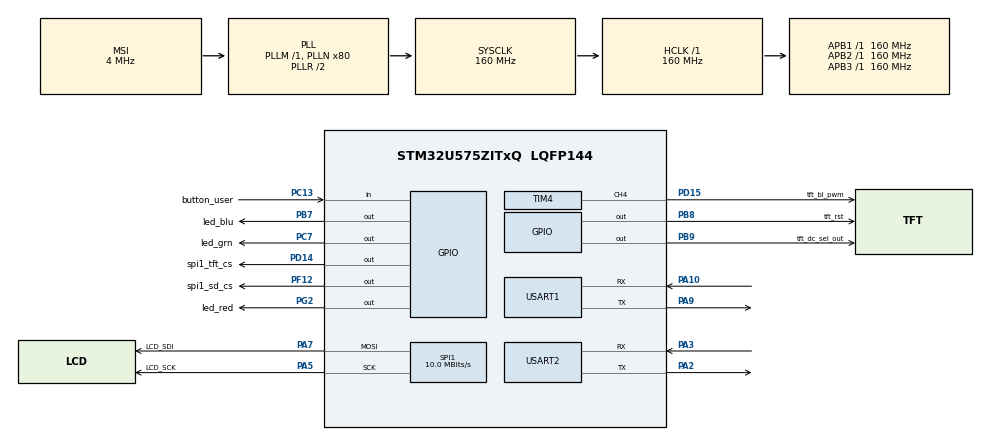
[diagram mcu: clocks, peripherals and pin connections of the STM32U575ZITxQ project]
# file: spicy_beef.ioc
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CORTEX_M33_NS.userName=CORTEX_M33
GPDMA1.CIRCULARMODE_GPDMACH0=ENABLE
GPDMA1.DIRECTION_GPDMACH0=DMA_MEMORY_TO_PERIPH
GPDMA1.IPHANDLE_GPDMACH0-SIMPLEREQUEST_GPDMACH0=__NULL
GPDMA1.PRIORITY_LL_CIRCULAR_GPDMACH0=DMA_LOW_PRIORITY_MID_WEIGHT
GPDMA1.REQUEST_GPDMACH0=GPDMA1_REQUEST_SPI1_TX
GPDMA1.SRCDATAWIDTH_GPDMACH0=DMA_SRC_DATAWIDTH_HALFWORD
Mcu.Family=STM32U5
Mcu.Name=STM32U575ZITxQ
Mcu.Package=LQFP144
NVIC.GPDMA1_Channel0_IRQn=true\:0\:0\:false\:false\:true\:true\:true\:true
NVIC.PriorityGroup=NVIC_PRIORITYGROUP_4
NVIC.SPI1_IRQn=true\:0\:0\:false\:false\:true\:true\:true\:true
NVIC.TIM2_IRQn=true\:15\:0\:false\:false\:true\:false\:true\:true
NVIC.TimeBase=TIM2_IRQn
NVIC.TimeBaseIP=TIM2
NVIC.USART1_IRQn=true\:0\:0\:false\:false\:true\:true\:true\:true
NVIC.USART2_IRQn=true\:0\:0\:false\:false\:true\:true\:true\:true
PA10.Mode=Asynchronous
PA10.Signal=USART1_RX
PA13\ (JTMS/SWDIO).Mode=Serial_Wire
PA13\ (JTMS/SWDIO).Signal=DEBUG_JTMS-SWDIO
PA14\ (JTCK/SWCLK).Mode=Serial_Wire
PA14\ (JTCK/SWCLK).Signal=DEBUG_JTCK-SWCLK
PA2.Mode=Asynchronous
PA2.Signal=USART2_TX
PA3.Mode=Asynchronous
PA3.Signal=USART2_RX
PA5.GPIO_Label=LCD_SCK
PA5.GPIO_PuPd=GPIO_PULLDOWN
PA5.GPIO_Speed=GPIO_SPEED_FREQ_VERY_HIGH
PA5.Mode=TX_Only_Simplex_Unidirect_Master
PA5.Signal=SPI1_SCK
PA7.GPIO_Label=LCD_SDI
PA7.GPIO_PuPd=GPIO_PULLUP
PA7.GPIO_Speed=GPIO_SPEED_FREQ_VERY_HIGH
PA7.Mode=TX_Only_Simplex_Unidirect_Master
PA7.Signal=SPI1_MOSI
PA9.Mode=Asynchronous
PA9.Signal=USART1_TX
PB7.GPIO_Label=led_blu
PB7.Signal=GPIO_Output
PB8.GPIO_Label=tft_rst
PB8.GPIO_PuPd=GPIO_PULLUP
PB8.PinState=GPIO_PIN_SET
PB8.Signal=GPIO_Output
PB9.GPIO_Label=tft_dc_sel_out
PB9.GPIO_Speed=GPIO_SPEED_FREQ_VERY_HIGH
PB9.PinState=GPIO_PIN_SET
PB9.Signal=GPIO_Output
PC13.GPIO_Label=button_user
PC13.GPIO_PuPd=GPIO_PULLDOWN
PC13.Signal=GPIO_Input
PC14-OSC32_IN\ (PC14).Mode=LSE-External-Oscillator
PC14-OSC32_IN\ (PC14).Signal=RCC_OSC32_IN
PC15-OSC32_OUT\ (PC15).Mode=LSE-External-Oscillator
PC15-OSC32_OUT\ (PC15).Signal=RCC_OSC32_OUT
PC7.GPIO_Label=led_grn
PC7.Signal=GPIO_Output
PD14.GPIO_Label=spi1_tft_cs
PD14.GPIO_Speed=GPIO_SPEED_FREQ_VERY_HIGH
PD14.PinState=GPIO_PIN_RESET
PD14.Signal=GPIO_Output
PD15.GPIO_Label=tft_bl_pwm
PD15.Signal=S_TIM4_CH4
PF12.GPIO_Label=spi1_sd_cs
PF12.PinState=GPIO_PIN_SET
PF12.Signal=GPIO_Output
PG2.GPIO_Label=led_red
PG2.Signal=GPIO_Output
PH0-OSC_IN\ (PH0).Mode=HSE-External-Clock-Source
PH0-OSC_IN\ (PH0).Signal=RCC_OSC_IN
ProjectManager.HeapSize=0x200
ProjectManager.StackSize=0x400
ProjectManager.TargetToolchain=STM32CubeIDE
RCC.ADCFreq_Value=16000000
RCC.AHBFreq_Value=160000000
RCC.APB1Freq_Value=160000000
RCC.APB1TimFreq_Value=160000000
RCC.APB2Freq_Value=160000000
RCC.APB2TimFreq_Value=160000000
RCC.APB3Freq_Value=160000000
RCC.CortexFreq_Value=160000000
RCC.EPOD_VALUE=4000000
RCC.HCLKFreq_Value=160000000
RCC.HSE_VALUE=16000000
RCC.HSI48_VALUE=48000000
RCC.HSI_VALUE=16000000
RCC.LSIDIV_VALUE=32000
RCC.MSI_VALUE=4000000
RCC.PLLN=80
RCC.SYSCLKFreq_VALUE=160000000
RCC.SYSCLKSource=RCC_SYSCLKSOURCE_PLLCLK
RCC.USBFreq_Value=48000000
RCC.VCOOutputFreq_Value=320000000
SH.S_TIM4_CH4.0=TIM4_CH4,PWM Generation4 CH4
SPI1.BaudRatePrescaler=SPI_BAUDRATEPRESCALER_16
SPI1.CalculateBaudRate=10.0 MBits/s
SPI1.DataSize=SPI_DATASIZE_8BIT
SPI1.Direction=SPI_DIRECTION_2LINES_TXONLY
SPI1.Mode=SPI_MODE_MASTER
SPI1.NSSPMode=SPI_NSS_PULSE_DISABLE
SPI1.VirtualType=VM_MASTER
TIM4.Channel-PWM\ Generation4\ CH4=TIM_CHANNEL_4
TIM4.PeriodNoDither=1599
TIM4.Prescaler=19
USART1.VirtualMode-Asynchronous=VM_ASYNC
USART2.VirtualMode-Asynchronous=VM_ASYNC
VP_FILEX_VS_FileOoSystemJjFileXJjCore.Mode=FileX_Core
VP_GPDMA1_VS_GPDMACH0.Mode=SIMPLEREQUEST_GPDMACH0
VP_LPBAMQUEUE_VS_QUEUE.Mode=QUEUEMODE
VP_LPBAM_VS_SIG1.Mode=SmartRun
VP_LPBAM_VS_SIG4.Mode=LPDMA1
VP_MEMORYMAP_VS_MEMORYMAP.Mode=CurAppReg
VP_PWR_VS_SECSignals.Mode=Security/Privilege
VP_SYS_VS_tim2.Mode=TIM2
board=custom

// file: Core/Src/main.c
/* USER CODE BEGIN Header */
/**
  ******************************************************************************
  * @file           : main.c
  * @brief          : Main program body
  ******************************************************************************
  * @attention
  *
  * Copyright (c) 2024 STMicroelectronics.
  * All rights reserved.
  *
  * This software is licensed under terms that can be found in the LICENSE file
  * in the root directory of this software component.
  * If no LICENSE file comes with this software, it is provided AS-IS.
  *
  ******************************************************************************
  */
/* USER CODE END Header */
#include "main.h"
#include "app_filex.h"

/* USER CODE BEGIN Includes */
#include <stdbool.h>
#include "../../Middlewares/Third_Party/lvgl/lvgl.h"
#include "../../Middlewares/Third_Party/lvgl/src/drivers/display/st7789/lv_st7789.h"

/* USER CODE END Includes */

/* USER CODE BEGIN PD */
#define LCD_H_RES	240
#define LCD_V_RES	240
#define BUS_SPI1_POLL_TIMEOUT 0x1000U

LV_IMG_DECLARE( pacman_open_240x240 );
LV_IMG_DECLARE( pacman_closed_240x240 );

/* USER CODE END PD */

SPI_HandleTypeDef hspi1;
DMA_NodeTypeDef Node_GPDMA1_Channel0;
DMA_QListTypeDef List_GPDMA1_Channel0;
DMA_HandleTypeDef handle_GPDMA1_Channel0;

TIM_HandleTypeDef htim4;

UART_HandleTypeDef huart1;
UART_HandleTypeDef huart2;

/* USER CODE BEGIN PV */

lv_display_t *lcd_disp;
volatile int lcd_bus_busy = 0;

/* USER CODE END PV */

void SystemClock_Config(void);
static void MX_GPIO_Init(void);
static void MX_GPDMA1_Init(void);
static void MX_TIM4_Init(void);
static void MX_USART1_UART_Init(void);
static void MX_SPI1_Init(void);
static void MX_USART2_UART_Init(void);
/* USER CODE BEGIN PFP */

static void ui_init(lv_display_t *disp);
static void LVGL_Init(void);
static void LVGL_Task(void);

static void set_screen_color(lv_color_t color);
static void set_pacman_img(bool open);

static void DMA_TransferComplete(DMA_HandleTypeDef *han);
static void DMA_TransferError(DMA_HandleTypeDef *han);

/* USER CODE END PFP */

int main(void)
{

  /* USER CODE BEGIN 1 */

  bool task_complete_1000ms = false;
  bool task_complete_500ms = false;
  bool task_complete_250ms = false;
  bool task_complete_10ms = false;

  bool pacman_open = true;

  /* USER CODE END 1 */

  /* MCU Configuration--------------------------------------------------------*/

  /* Reset of all peripherals, Initializes the Flash interface and the Systick. */
  HAL_Init();

  /* Configure the system clock */
  SystemClock_Config();

  /* Initialize all configured peripherals */
  MX_GPIO_Init();
  MX_GPDMA1_Init();
  MX_TIM4_Init();
  MX_USART1_UART_Init();
  MX_SPI1_Init();
  MX_FileX_Init();
  MX_USART2_UART_Init();
  /* USER CODE BEGIN 2 */

  LVGL_Init();

  /* USER CODE END 2 */

  /* Infinite loop */
  while (1)
  {

    /* USER CODE BEGIN 3 */

    /* 10ms TASKS */
    if ((HAL_GetTick() % 10 == 0) && !task_complete_10ms){
      // Do the tasks
      task_complete_10ms = true;
      LVGL_Task();
    }
    else if (HAL_GetTick() % 10 != 0){
      task_complete_10ms = false;
    }

    /* 250ms TASKS */
    if ((HAL_GetTick() % 250 == 0) && !task_complete_250ms){

      task_complete_250ms = true;
    }
    else if (HAL_GetTick() % 250 != 0){
      task_complete_250ms = false;
    }

    /* 500ms TASKS */
    if ((HAL_GetTick() % 500 == 0) && !task_complete_500ms){
      // Toggle the red led
      HAL_GPIO_TogglePin(led_grn_GPIO_Port, led_grn_Pin);
      HAL_GPIO_TogglePin(led_blu_GPIO_Port, led_blu_Pin);
      HAL_GPIO_TogglePin(led_red_GPIO_Port, led_red_Pin);

      // Toggle the pacman image
      // set_pacman_img(pacman_open);
      // pacman_open = !pacman_open;

      task_complete_500ms = true;
    }
    else if (HAL_GetTick() % 500 != 0){
      task_complete_500ms = false;
    }

    /* 1000ms TASKS */
    if ((HAL_GetTick() % 1000 == 0) && !task_complete_1000ms){

      task_complete_1000ms = true;
    }
    else if (HAL_GetTick() % 1000 != 0){
      task_complete_1000ms = false;
    }

  }
  /* USER CODE END 3 */
}

void SystemClock_Config(void)
{
  RCC_OscInitTypeDef RCC_OscInitStruct = {0};
  RCC_ClkInitTypeDef RCC_ClkInitStruct = {0};

  /** Configure the main internal regulator output voltage
  */
  if (HAL_PWREx_ControlVoltageScaling(PWR_REGULATOR_VOLTAGE_SCALE1) != HAL_OK)
  {
    Error_Handler();
  }

  /** Initializes the CPU, AHB and APB buses clocks
  */
  RCC_OscInitStruct.OscillatorType = RCC_OSCILLATORTYPE_MSI;
  RCC_OscInitStruct.MSIState = RCC_MSI_ON;
  RCC_OscInitStruct.MSICalibrationValue = RCC_MSICALIBRATION_DEFAULT;
  RCC_OscInitStruct.MSIClockRange = RCC_MSIRANGE_4;
  RCC_OscInitStruct.PLL.PLLState = RCC_PLL_ON;
  RCC_OscInitStruct.PLL.PLLSource = RCC_PLLSOURCE_MSI;
  RCC_OscInitStruct.PLL.PLLMBOOST = RCC_PLLMBOOST_DIV1;
  RCC_OscInitStruct.PLL.PLLM = 1;
  RCC_OscInitStruct.PLL.PLLN = 80;
  RCC_OscInitStruct.PLL.PLLP = 2;
  RCC_OscInitStruct.PLL.PLLQ = 2;
  RCC_OscInitStruct.PLL.PLLR = 2;
  RCC_OscInitStruct.PLL.PLLRGE = RCC_PLLVCIRANGE_0;
  RCC_OscInitStruct.PLL.PLLFRACN = 0;
  if (HAL_RCC_OscConfig(&RCC_OscInitStruct) != HAL_OK)
  {
    Error_Handler();
  }

  /** Initializes the CPU, AHB and APB buses clocks
  */
  RCC_ClkInitStruct.ClockType = RCC_CLOCKTYPE_HCLK|RCC_CLOCKTYPE_SYSCLK
                              |RCC_CLOCKTYPE_PCLK1|RCC_CLOCKTYPE_PCLK2
                              |RCC_CLOCKTYPE_PCLK3;
  RCC_ClkInitStruct.SYSCLKSource = RCC_SYSCLKSOURCE_PLLCLK;
  RCC_ClkInitStruct.AHBCLKDivider = RCC_SYSCLK_DIV1;
  RCC_ClkInitStruct.APB1CLKDivider = RCC_HCLK_DIV1;
  RCC_ClkInitStruct.APB2CLKDivider = RCC_HCLK_DIV1;
  RCC_ClkInitStruct.APB3CLKDivider = RCC_HCLK_DIV1;

  if (HAL_RCC_ClockConfig(&RCC_ClkInitStruct, FLASH_LATENCY_4) != HAL_OK)
  {
    Error_Handler();
  }
}

static void MX_GPDMA1_Init(void)
{

  /* Peripheral clock enable */
  __HAL_RCC_GPDMA1_CLK_ENABLE();

  /* GPDMA1 interrupt Init */
    HAL_NVIC_SetPriority(GPDMA1_Channel0_IRQn, 0, 0);
    HAL_NVIC_EnableIRQ(GPDMA1_Channel0_IRQn);

}

static void MX_SPI1_Init(void)
{

  SPI_AutonomousModeConfTypeDef HAL_SPI_AutonomousMode_Cfg_Struct = {0};

  /* SPI1 parameter configuration*/
  hspi1.Instance = SPI1;
  hspi1.Init.Mode = SPI_MODE_MASTER;
  hspi1.Init.Direction = SPI_DIRECTION_2LINES_TXONLY;
  hspi1.Init.DataSize = SPI_DATASIZE_8BIT;
  hspi1.Init.CLKPolarity = SPI_POLARITY_LOW;
  hspi1.Init.CLKPhase = SPI_PHASE_1EDGE;
  hspi1.Init.NSS = SPI_NSS_SOFT;
  hspi1.Init.BaudRatePrescaler = SPI_BAUDRATEPRESCALER_16;
  hspi1.Init.FirstBit = SPI_FIRSTBIT_MSB;
  hspi1.Init.TIMode = SPI_TIMODE_DISABLE;
  hspi1.Init.CRCCalculation = SPI_CRCCALCULATION_DISABLE;
  hspi1.Init.CRCPolynomial = 0x7;
  hspi1.Init.NSSPMode = SPI_NSS_PULSE_DISABLE;
  hspi1.Init.NSSPolarity = SPI_NSS_POLARITY_LOW;
  hspi1.Init.FifoThreshold = SPI_FIFO_THRESHOLD_01DATA;
  hspi1.Init.MasterSSIdleness = SPI_MASTER_SS_IDLENESS_00CYCLE;
  hspi1.Init.MasterInterDataIdleness = SPI_MASTER_INTERDATA_IDLENESS_00CYCLE;
  hspi1.Init.MasterReceiverAutoSusp = SPI_MASTER_RX_AUTOSUSP_DISABLE;
  hspi1.Init.MasterKeepIOState = SPI_MASTER_KEEP_IO_STATE_DISABLE;
  hspi1.Init.IOSwap = SPI_IO_SWAP_DISABLE;
  hspi1.Init.ReadyMasterManagement = SPI_RDY_MASTER_MANAGEMENT_INTERNALLY;
  hspi1.Init.ReadyPolarity = SPI_RDY_POLARITY_HIGH;
  if (HAL_SPI_Init(&hspi1) != HAL_OK)
  {
    Error_Handler();
  }
  HAL_SPI_AutonomousMode_Cfg_Struct.TriggerState = SPI_AUTO_MODE_DISABLE;
  HAL_SPI_AutonomousMode_Cfg_Struct.TriggerSelection = SPI_GRP1_GPDMA_CH0_TCF_TRG;
  HAL_SPI_AutonomousMode_Cfg_Struct.TriggerPolarity = SPI_TRIG_POLARITY_RISING;
  if (HAL_SPIEx_SetConfigAutonomousMode(&hspi1, &HAL_SPI_AutonomousMode_Cfg_Struct) != HAL_OK)
  {
    Error_Handler();
  }

}

static void MX_TIM4_Init(void)
{

  TIM_MasterConfigTypeDef sMasterConfig = {0};
  TIM_OC_InitTypeDef sConfigOC = {0};

  htim4.Instance = TIM4;
  htim4.Init.Prescaler = 19;
  htim4.Init.CounterMode = TIM_COUNTERMODE_UP;
  htim4.Init.Period = 1599;
  htim4.Init.ClockDivision = TIM_CLOCKDIVISION_DIV1;
  htim4.Init.AutoReloadPreload = TIM_AUTORELOAD_PRELOAD_DISABLE;
  if (HAL_TIM_PWM_Init(&htim4) != HAL_OK)
  {
    Error_Handler();
  }
  sMasterConfig.MasterOutputTrigger = TIM_TRGO_RESET;
  sMasterConfig.MasterSlaveMode = TIM_MASTERSLAVEMODE_DISABLE;
  if (HAL_TIMEx_MasterConfigSynchronization(&htim4, &sMasterConfig) != HAL_OK)
  {
    Error_Handler();
  }
  sConfigOC.OCMode = TIM_OCMODE_PWM1;
  sConfigOC.Pulse = 0;
  sConfigOC.OCPolarity = TIM_OCPOLARITY_HIGH;
  sConfigOC.OCFastMode = TIM_OCFAST_DISABLE;
  if (HAL_TIM_PWM_ConfigChannel(&htim4, &sConfigOC, TIM_CHANNEL_4) != HAL_OK)
  {
    Error_Handler();
  }
  HAL_TIM_MspPostInit(&htim4);

}

static void MX_USART1_UART_Init(void)
{

  huart1.Instance = USART1;
  huart1.Init.BaudRate = 115200;
  huart1.Init.WordLength = UART_WORDLENGTH_8B;
  huart1.Init.StopBits = UART_STOPBITS_1;
  huart1.Init.Parity = UART_PARITY_NONE;
  huart1.Init.Mode = UART_MODE_TX_RX;
  huart1.Init.HwFlowCtl = UART_HWCONTROL_NONE;
  huart1.Init.OverSampling = UART_OVERSAMPLING_16;
  huart1.Init.OneBitSampling = UART_ONE_BIT_SAMPLE_DISABLE;
  huart1.Init.ClockPrescaler = UART_PRESCALER_DIV1;
  huart1.AdvancedInit.AdvFeatureInit = UART_ADVFEATURE_NO_INIT;
  if (HAL_UART_Init(&huart1) != HAL_OK)
  {
    Error_Handler();
  }
  if (HAL_UARTEx_SetTxFifoThreshold(&huart1, UART_TXFIFO_THRESHOLD_1_8) != HAL_OK)
  {
    Error_Handler();
  }
  if (HAL_UARTEx_SetRxFifoThreshold(&huart1, UART_RXFIFO_THRESHOLD_1_8) != HAL_OK)
  {
    Error_Handler();
  }
  if (HAL_UARTEx_DisableFifoMode(&huart1) != HAL_OK)
  {
    Error_Handler();
  }

}

static void MX_USART2_UART_Init(void)
{

  huart2.Instance = USART2;
  huart2.Init.BaudRate = 115200;
  huart2.Init.WordLength = UART_WORDLENGTH_8B;
  huart2.Init.StopBits = UART_STOPBITS_1;
  huart2.Init.Parity = UART_PARITY_NONE;
  huart2.Init.Mode = UART_MODE_TX_RX;
  huart2.Init.HwFlowCtl = UART_HWCONTROL_NONE;
  huart2.Init.OverSampling = UART_OVERSAMPLING_16;
  huart2.Init.OneBitSampling = UART_ONE_BIT_SAMPLE_DISABLE;
  huart2.Init.ClockPrescaler = UART_PRESCALER_DIV1;
  huart2.AdvancedInit.AdvFeatureInit = UART_ADVFEATURE_NO_INIT;
  if (HAL_UART_Init(&huart2) != HAL_OK)
  {
    Error_Handler();
  }
  if (HAL_UARTEx_SetTxFifoThreshold(&huart2, UART_TXFIFO_THRESHOLD_1_8) != HAL_OK)
  {
    Error_Handler();
  }
  if (HAL_UARTEx_SetRxFifoThreshold(&huart2, UART_RXFIFO_THRESHOLD_1_8) != HAL_OK)
  {
    Error_Handler();
  }
  if (HAL_UARTEx_DisableFifoMode(&huart2) != HAL_OK)
  {
    Error_Handler();
  }

}

static void MX_GPIO_Init(void)
{
  GPIO_InitTypeDef GPIO_InitStruct = {0};
/* USER CODE BEGIN MX_GPIO_Init_1 */

  /* In order to use PORTG, have to enable VddIO2 */
  HAL_PWREx_EnableVddIO2();

/* USER CODE END MX_GPIO_Init_1 */

  /* GPIO Ports Clock Enable */
  __HAL_RCC_GPIOC_CLK_ENABLE();
  __HAL_RCC_GPIOH_CLK_ENABLE();
  __HAL_RCC_GPIOA_CLK_ENABLE();
  __HAL_RCC_GPIOF_CLK_ENABLE();
  __HAL_RCC_GPIOD_CLK_ENABLE();
  __HAL_RCC_GPIOG_CLK_ENABLE();
  __HAL_RCC_GPIOB_CLK_ENABLE();

  /*Configure GPIO pin Output Level */
  HAL_GPIO_WritePin(spi1_sd_cs_GPIO_Port, spi1_sd_cs_Pin, GPIO_PIN_SET);

  /*Configure GPIO pin Output Level */
  HAL_GPIO_WritePin(spi1_tft_cs_GPIO_Port, spi1_tft_cs_Pin, GPIO_PIN_RESET);

  /*Configure GPIO pin Output Level */
  HAL_GPIO_WritePin(led_red_GPIO_Port, led_red_Pin, GPIO_PIN_RESET);

  /*Configure GPIO pin Output Level */
  HAL_GPIO_WritePin(led_grn_GPIO_Port, led_grn_Pin, GPIO_PIN_RESET);

  /*Configure GPIO pin Output Level */
  HAL_GPIO_WritePin(led_blu_GPIO_Port, led_blu_Pin, GPIO_PIN_RESET);

  /*Configure GPIO pin Output Level */
  HAL_GPIO_WritePin(GPIOB, tft_rst_Pin|tft_dc_sel_out_Pin, GPIO_PIN_SET);

  /*Configure GPIO pin : button_user_Pin */
  GPIO_InitStruct.Pin = button_user_Pin;
  GPIO_InitStruct.Mode = GPIO_MODE_INPUT;
  GPIO_InitStruct.Pull = GPIO_PULLDOWN;
  HAL_GPIO_Init(button_user_GPIO_Port, &GPIO_InitStruct);

  /*Configure GPIO pin : spi1_sd_cs_Pin */
  GPIO_InitStruct.Pin = spi1_sd_cs_Pin;
  GPIO_InitStruct.Mode = GPIO_MODE_OUTPUT_PP;
  GPIO_InitStruct.Pull = GPIO_NOPULL;
  GPIO_InitStruct.Speed = GPIO_SPEED_FREQ_LOW;
  HAL_GPIO_Init(spi1_sd_cs_GPIO_Port, &GPIO_InitStruct);

  /*Configure GPIO pin : spi1_tft_cs_Pin */
  GPIO_InitStruct.Pin = spi1_tft_cs_Pin;
  GPIO_InitStruct.Mode = GPIO_MODE_OUTPUT_PP;
  GPIO_InitStruct.Pull = GPIO_NOPULL;
  GPIO_InitStruct.Speed = GPIO_SPEED_FREQ_VERY_HIGH;
  HAL_GPIO_Init(spi1_tft_cs_GPIO_Port, &GPIO_InitStruct);

  /*Configure GPIO pin : led_red_Pin */
  GPIO_InitStruct.Pin = led_red_Pin;
  GPIO_InitStruct.Mode = GPIO_MODE_OUTPUT_PP;
  GPIO_InitStruct.Pull = GPIO_NOPULL;
  GPIO_InitStruct.Speed = GPIO_SPEED_FREQ_LOW;
  HAL_GPIO_Init(led_red_GPIO_Port, &GPIO_InitStruct);

  /*Configure GPIO pin : led_grn_Pin */
  GPIO_InitStruct.Pin = led_grn_Pin;
  GPIO_InitStruct.Mode = GPIO_MODE_OUTPUT_PP;
  GPIO_InitStruct.Pull = GPIO_NOPULL;
  GPIO_InitStruct.Speed = GPIO_SPEED_FREQ_LOW;
  HAL_GPIO_Init(led_grn_GPIO_Port, &GPIO_InitStruct);

  /*Configure GPIO pin : led_blu_Pin */
  GPIO_InitStruct.Pin = led_blu_Pin;
  GPIO_InitStruct.Mode = GPIO_MODE_OUTPUT_PP;
  GPIO_InitStruct.Pull = GPIO_NOPULL;
  GPIO_InitStruct.Speed = GPIO_SPEED_FREQ_LOW;
  HAL_GPIO_Init(led_blu_GPIO_Port, &GPIO_InitStruct);

  /*Configure GPIO pin : tft_rst_Pin */
  GPIO_InitStruct.Pin = tft_rst_Pin;
  GPIO_InitStruct.Mode = GPIO_MODE_OUTPUT_PP;
  GPIO_InitStruct.Pull = GPIO_PULLUP;
  GPIO_InitStruct.Speed = GPIO_SPEED_FREQ_LOW;
  HAL_GPIO_Init(tft_rst_GPIO_Port, &GPIO_InitStruct);

  /*Configure GPIO pin : tft_dc_sel_out_Pin */
  GPIO_InitStruct.Pin = tft_dc_sel_out_Pin;
  GPIO_InitStruct.Mode = GPIO_MODE_OUTPUT_PP;
  GPIO_InitStruct.Pull = GPIO_NOPULL;
  GPIO_InitStruct.Speed = GPIO_SPEED_FREQ_VERY_HIGH;
  HAL_GPIO_Init(tft_dc_sel_out_GPIO_Port, &GPIO_InitStruct);

}

/* USER CODE BEGIN 4 */

void lcd_color_transfer_ready_cb(SPI_HandleTypeDef *hspi)
{
  /* CS high */
  HAL_GPIO_WritePin(spi1_tft_cs_GPIO_Port, spi1_tft_cs_Pin, GPIO_PIN_SET);
  lcd_bus_busy = 0;
  lv_display_flush_ready(lcd_disp);
}

/* Initialize LCD I/O bus, reset LCD */
static int32_t lcd_io_init(void)
{
  /* Register SPI Tx Complete Callback */
  HAL_SPI_RegisterCallback(&hspi1, HAL_SPI_TX_COMPLETE_CB_ID, lcd_color_transfer_ready_cb);

  /* reset LCD */
  HAL_GPIO_WritePin(tft_rst_GPIO_Port, tft_rst_Pin, GPIO_PIN_RESET);
  HAL_Delay(100);
  HAL_GPIO_WritePin(tft_rst_GPIO_Port, tft_rst_Pin, GPIO_PIN_SET);
  HAL_Delay(100);

  HAL_GPIO_WritePin(spi1_tft_cs_GPIO_Port, spi1_tft_cs_Pin, GPIO_PIN_SET);
  HAL_GPIO_WritePin(tft_dc_sel_out_GPIO_Port, tft_dc_sel_out_Pin, GPIO_PIN_SET);

  return HAL_OK;
}

/* Platform-specific implementation of the LCD send command function. In general this should use polling transfer. */
static void lcd_send_cmd(lv_display_t *disp, const uint8_t *cmd, size_t cmd_size, const uint8_t *param, size_t param_size)
{
  static uint32_t cmd_counter = 0;

  LV_UNUSED(disp);
  while (lcd_bus_busy);	/* wait until previous transfer is finished */
  /* Set the SPI in 8-bit mode */
  hspi1.Init.DataSize = SPI_DATASIZE_8BIT;
  HAL_SPI_Init(&hspi1);
  /* DCX low (command) */
  HAL_GPIO_WritePin(tft_dc_sel_out_GPIO_Port, tft_dc_sel_out_Pin, GPIO_PIN_RESET);
  /* CS low */
  HAL_GPIO_WritePin(spi1_tft_cs_GPIO_Port, spi1_tft_cs_Pin, GPIO_PIN_RESET);
  /* send command */
  if (HAL_SPI_Transmit(&hspi1, cmd, cmd_size, BUS_SPI1_POLL_TIMEOUT) == HAL_OK) {
    /* DCX high (data) */
    HAL_GPIO_WritePin(tft_dc_sel_out_GPIO_Port, tft_dc_sel_out_Pin, GPIO_PIN_SET);
    /* for short data blocks we use polling transfer */
    HAL_SPI_Transmit(&hspi1, (uint8_t *)param, (uint16_t)param_size, BUS_SPI1_POLL_TIMEOUT);
    /* CS high */
    HAL_GPIO_WritePin(spi1_tft_cs_GPIO_Port, spi1_tft_cs_Pin, GPIO_PIN_SET);
  }

  cmd_counter++;
}

/* Platform-specific implementation of the LCD send color function. For better performance this should use DMA transfer.
  * In case of a DMA transfer a callback must be installed to notify LVGL about the end of the transfer.
  */
static void lcd_send_color(lv_display_t *disp, const uint8_t *cmd, size_t cmd_size, uint8_t *param, size_t param_size)
{
  static uint32_t cmd_counter = 0;
  static uint32_t err_counter = 0;
  LV_UNUSED(disp);
  while (lcd_bus_busy);	/* wait until previous transfer is finished */
  /* Set the SPI in 8-bit mode */
  hspi1.Init.DataSize = SPI_DATASIZE_8BIT;
  HAL_SPI_Init(&hspi1);
  /* DCX low (command) */
  HAL_GPIO_WritePin(tft_dc_sel_out_GPIO_Port, tft_dc_sel_out_Pin, GPIO_PIN_RESET);
  /* CS low */
  HAL_GPIO_WritePin(spi1_tft_cs_GPIO_Port, spi1_tft_cs_Pin, GPIO_PIN_RESET);
  /* send command */
  if (HAL_SPI_Transmit(&hspi1, cmd, cmd_size, BUS_SPI1_POLL_TIMEOUT) == HAL_OK) {
    /* DCX high (data) */
    HAL_GPIO_WritePin(tft_dc_sel_out_GPIO_Port, tft_dc_sel_out_Pin, GPIO_PIN_SET);
    /* for color data use DMA transfer */
    /* Set the SPI in 16-bit mode to match endianness */
    hspi1.Init.DataSize = SPI_DATASIZE_16BIT;
    HAL_SPI_Init(&hspi1);
    lcd_bus_busy = 1;

    hspi1.hdmatx->Init.SrcDataWidth = DMA_SRC_DATAWIDTH_HALFWORD;
    HAL_DMA_Init(hspi1.hdmatx);

    HAL_StatusTypeDef result = HAL_SPI_Transmit_IT(&hspi1, param, (uint16_t)param_size / 2);

    // HAL_StatusTypeDef result = HAL_SPI_Transmit_DMA(&hspi1, param, (uint16_t)param_size / 2);
    /* NOTE: CS will be reset in the transfer ready callback */
    // if (result == HAL_OK) {
    //   HAL_DMA_RegisterCallback(&handle_GPDMA1_Channel0, HAL_DMA_XFER_CPLT_CB_ID, DMA_TransferComplete);
    //   HAL_DMA_RegisterCallback(&handle_GPDMA1_Channel0, HAL_DMA_XFER_ERROR_CB_ID, DMA_TransferError);
    // }
    if (result != HAL_OK)
      err_counter++;
  }
  cmd_counter++;
}

static void DMA_TransferComplete(DMA_HandleTypeDef *han)
{
  lcd_color_transfer_ready_cb(&hspi1);
}

static void DMA_TransferError(DMA_HandleTypeDef *han)
{
  static uint32_t err_counter = 0;

  err_counter++;
  // lcd_bus_busy = 0;
  // lv_display_flush_ready(lcd_disp);
}

static void LVGL_Init(void)
{
  /* Initialize LVGL */
  lv_init();

  /* Initialize LCD I/O */
  if (lcd_io_init() != 0)
    return;

  /* Create the LVGL display object and the LCD display driver */
  lcd_disp = lv_st7789_create(LCD_H_RES, LCD_V_RES, LV_LCD_FLAG_NONE, lcd_send_cmd, lcd_send_color);
  lv_display_set_rotation(lcd_disp, LV_DISPLAY_ROTATION_0);

  lv_st7789_set_invert(lcd_disp, true);

  /* Allocate draw buffers on the heap. In this example we use two partial buffers of 1/10th size of the screen */
  lv_color_t * buf1 = NULL;
  lv_color_t * buf2 = NULL;

  uint32_t buf_size = LCD_H_RES * LCD_V_RES / 10 * lv_color_format_get_size(lv_display_get_color_format(lcd_disp));

  buf1 = lv_malloc(buf_size);
  if(buf1 == NULL) {
    LV_LOG_ERROR("display draw buffer malloc failed");
    return;
  }

  buf2 = lv_malloc(buf_size);
  if(buf2 == NULL) {
    LV_LOG_ERROR("display buffer malloc failed");
    lv_free(buf1);
    return;
  }
  lv_display_set_buffers(lcd_disp, buf1, buf2, buf_size, LV_DISPLAY_RENDER_MODE_PARTIAL);

  ui_init(lcd_disp);
  // set_screen_color(lv_color_make(0xff, 0xff, 0x00));
}

static void LVGL_Task(void)
{
  /* The task running lv_timer_handler should have lower priority than that running `lv_tick_inc` */
  lv_timer_handler();
}

static void ui_init(lv_display_t *disp)
{
  lv_obj_t *obj;

  /* set screen background to white */
  lv_obj_t *scr = lv_screen_active();
  lv_obj_set_style_bg_color(scr, lv_color_black(), 0);
  lv_obj_set_style_bg_opa(scr, LV_OPA_100, 0);

  /* create label */
  // obj = lv_label_create(scr);
  // lv_obj_set_align(obj, LV_ALIGN_CENTER);
  // lv_obj_set_height(obj, LV_SIZE_CONTENT);
  // lv_obj_set_width(obj, LV_SIZE_CONTENT);
  // lv_obj_set_style_text_font(obj, &lv_font_montserrat_14, 0);
  // lv_obj_set_style_text_color(obj, lv_color_black(), 0);
  // lv_label_set_text(obj, "Hello World!");

  /*
    Create an image from the img directory and add it to the screen. The image is contained in the file pacman_open_240x176.c
    and is defined by the following struct:

    const lv_image_dsc_t pacman_open_240x176 = {
      .header.cf = LV_COLOR_FORMAT_RGB565,
      .header.magic = LV_IMAGE_HEADER_MAGIC,
      .header.w = 240,
      .header.h = 176,
      .data_size = 42240 * 2,
      .data = pacman_open_240x176_map,
    };

  */
  obj = lv_img_create(scr);
  lv_img_set_src(obj, &pacman_open_240x240);
  lv_obj_align(obj, LV_ALIGN_CENTER, 0, 0);

}

static void set_pacman_img(bool open)
{
  lv_obj_t *scr = lv_screen_active();
  lv_obj_t *obj = lv_img_create(scr);
  if (open)
    lv_img_set_src(obj, &pacman_open_240x240);
  else
    lv_img_set_src(obj, &pacman_closed_240x240);
  lv_obj_align(obj, LV_ALIGN_CENTER, 0, 0);
}

static void set_screen_color(lv_color_t color)
{
    lv_obj_t * screen_obj = lv_obj_create(lv_scr_act()); // Create an object on the active screen
    lv_obj_set_size(screen_obj, LV_HOR_RES, LV_VER_RES); // Set the object size to cover the entire screen
    lv_obj_align(screen_obj, LV_ALIGN_CENTER, 0, 0); // Align the object to the center of the screen
    lv_obj_set_style_bg_color(screen_obj, color, 0); // Set the background color of the object
    lv_obj_set_style_bg_opa(screen_obj, LV_OPA_COVER, 0); // Ensure the background is fully opaque
}

/* USER CODE END 4 */

void HAL_TIM_PeriodElapsedCallback(TIM_HandleTypeDef *htim)
{
  if (htim->Instance == TIM2) {
    HAL_IncTick();
  }
}

void Error_Handler(void)
{
  __disable_irq();
  while (1)
  {
  }
}
